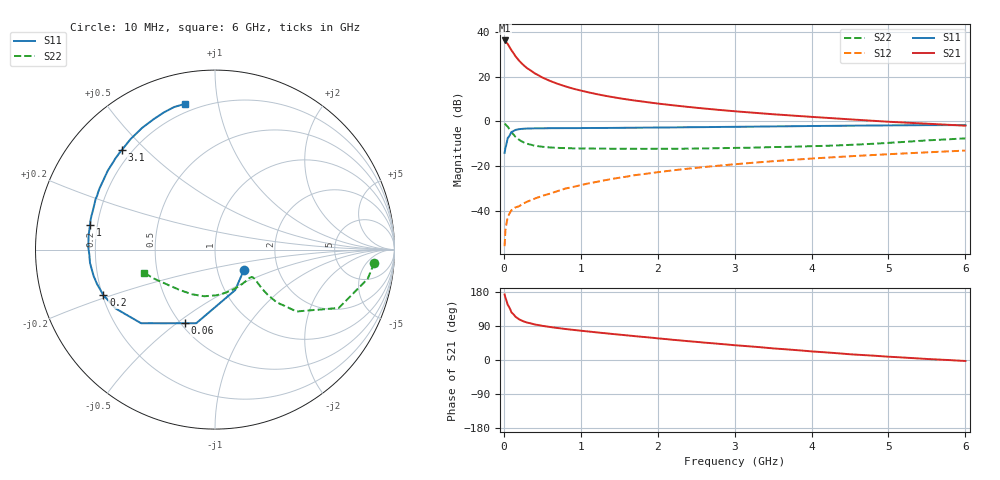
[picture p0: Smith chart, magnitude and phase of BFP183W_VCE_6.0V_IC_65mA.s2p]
! (c) 2017  Infineon Technologies AG, Munich
! Infineon Technologies  Discrete & RF Semiconductors
! BFP183W
! VCE =  6.0 V,  IC =  65 mA
! Common Emitter S-Parameters:  Jan 2017
# GHz  S  MA  R  50
!  f  S11  S21  S12  S22
! GHz  MAG  ANG  MAG  ANG  MAG  ANG  MAG  ANG
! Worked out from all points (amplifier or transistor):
!   77 points, 10 MHz to 6 GHz, reference 50 ohm
!   highest |S21| = 36.3 dB at 10 MHz (marker M1)
!   |S21| within 3 dB of that: start of sweep to 74.71 MHz
!   unconditionally stable (mu >= 1): 450.9 MHz to 3.681 GHz
!   at 130 MHz: K = 0.51, MSG = 34.7 dB, |S12| = -39.0 dB
!   at 2.2 GHz: K = 1.13, MAG = 12.4 dB, |S12| = -21.9 dB
!   at 6 GHz: K = 0.87, MSG = 5.6 dB, |S12| = -13.1 dB
!   S11 on the Smith chart (normalised r, x): 10 MHz: 1.34, -0.32; 60 MHz: 0.53, -0.54; 200 MHz: 0.20, -0.19; 1 GHz: 0.17, +0.10; 3.1 GHz: 0.16, +0.42; 6 GHz: 0.15, +0.80
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0.01  0.1976 -36.0  65.34 172.8  0.0016 83.5  0.8902 -4.8
0.02  0.2522 -63.6  63.61 164.9  0.0036 89.0  0.8663 -10.8
0.05  0.4234 -104.3  54.59 145.8  0.0071 58.8  0.7628 -25.2
0.06  0.4426 -112.0  51.09 142.7  0.0077 57.4  0.7225 -27.1
0.1  0.5813 -135.1  39.2 125.3  0.0103 53.4  0.5717 -37.1
0.15  0.6446 -149.5  29.15 114.3  0.0118 50.4  0.4533 -40.5
0.2  0.6716 -157.8  22.82 107.2  0.0126 51.9  0.3861 -40.6
0.25  0.6846 -163.7  18.68 102.4  0.0144 52.0  0.344 -39.8
0.3  0.6922 -167.8  15.73 98.9  0.0158 53.2  0.3167 -38.7
0.4  0.7003 -173.8  12.02 93.8  0.0186 57.7  0.2861 -37.0
0.5  0.701 -178.0  9.665 90.2  0.0215 60.5  0.2704 -36.3
0.6  0.7063 178.8  8.103 87.1  0.0241 61.1  0.2611 -36.3
0.7  0.7069 176.1  6.964 84.4  0.0275 65.2  0.2553 -36.7
0.8  0.7087 173.4  6.115 81.8  0.0313 67.2  0.2525 -37.8
1  0.7099 168.8  4.921 77.3  0.0373 68.1  0.2476 -40.5
1.1  0.7126 166.7  4.487 75.2  0.0409 69.0  0.2475 -42.3
1.5  0.718 159.2  3.316 67.0  0.0547 69.4  0.2438 -49.9
2.1  0.732 148.4  2.408 55.3  0.0765 68.2  0.2437 -64.4
3.1  0.7599 133.2  1.64 37.5  0.1133 63.1  0.2562 -92.2
4.1  0.7922 119.8  1.234 21.3  0.1508 56.4  0.2817 -119.7
5.1  0.8176 109.5  0.964 7.6  0.1879 49.0  0.3388 -146.4
6  0.8295 101.6  0.803 -2.6  0.2223 42.0  0.4169 -162.0
